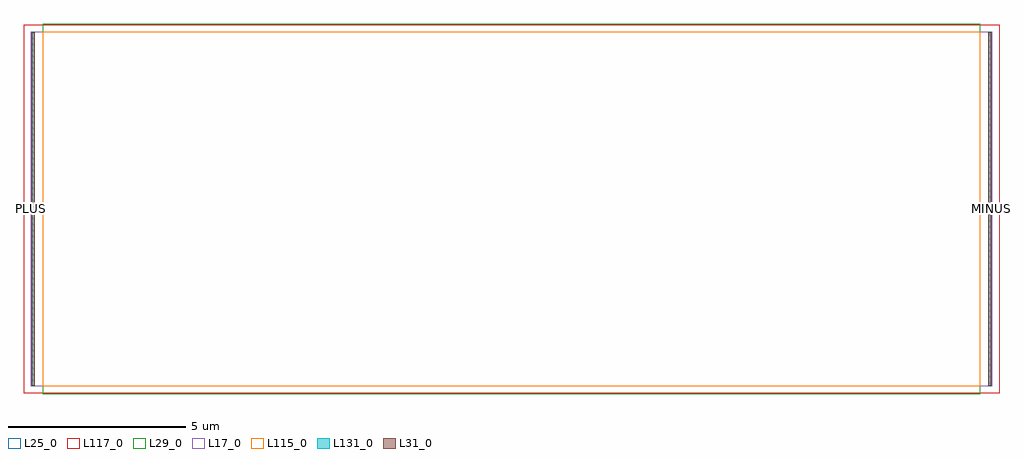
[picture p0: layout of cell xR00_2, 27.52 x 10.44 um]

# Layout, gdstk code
import gdstk
lib = gdstk.Library(unit=1e-6, precision=1e-09)
def R(c, l, rs):  # rectangles x0, y0, x1, y1
    for r in rs: c.add(gdstk.rectangle(r[:2], r[2:], *l))
L17_0 = (17, 0)
L25_0 = (25, 0)
L29_0 = (29, 0)
L31_0 = (31, 0)
L115_0 = (115, 0)
L117_0 = (117, 0)
L131_0 = (131, 0)

xr00_2 = lib.new_cell('xR00_2')
R(xr00_2, L17_0, [(0.2,0.22,27.32,10.22)])
R(xr00_2, L25_0, [(0,0.02,27.52,10.42)])
R(xr00_2, L29_0, [(0.54,0,26.98,10.44)])
R(xr00_2, L31_0, [(0.23,0.235,0.32,10.205), (27.2,0.235,27.29,10.205)])
R(xr00_2, L115_0, [(0.54,0.22,26.98,10.22)])
R(xr00_2, L117_0, [(0,0.02,27.52,10.42)])
R(xr00_2, L131_0, [(0.23,0.22,0.32,10.22), (27.2,0.22,27.29,10.22)])
xr00_2.add(gdstk.Label('PLUS', (0.23,5.235), layer=131, texttype=0))
xr00_2.add(gdstk.Label('MINUS', (27.29,5.235), layer=131, texttype=0))

lib.write_gds('xR00_2.gds')
